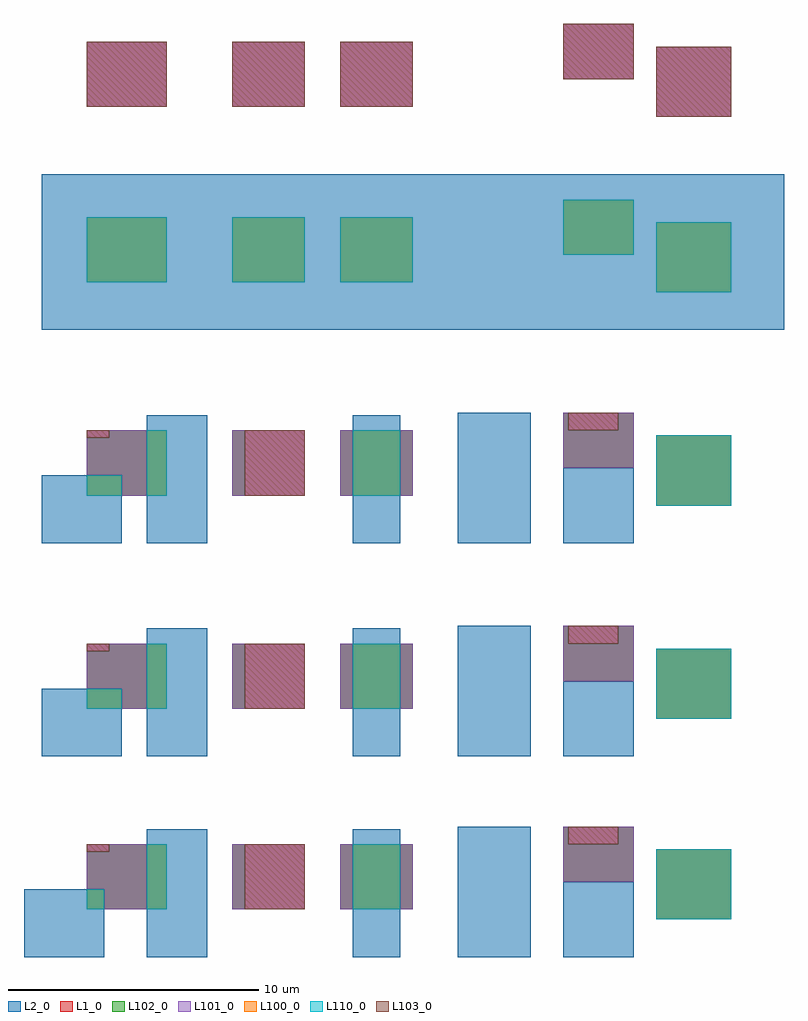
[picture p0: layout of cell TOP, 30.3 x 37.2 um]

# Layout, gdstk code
import gdstk
lib = gdstk.Library(unit=1e-6, precision=1e-09)
def R(c, l, rs):  # rectangles x0, y0, x1, y1
    for r in rs: c.add(gdstk.rectangle(r[:2], r[2:], *l))
def P(c, l, *ps):  # polygons
    for p in ps: c.add(gdstk.Polygon(p, *l))
L1_0 = (1, 0)
L2_0 = (2, 0)
L100_0 = (100, 0)
L101_0 = (101, 0)
L102_0 = (102, 0)
L103_0 = (103, 0)
L110_0 = (110, 0)

child1 = lib.new_cell('CHILD1')
R(child1, L1_0, [(22.7,0,25.7,2.8), (0,0.4,3.2,3), (5.8,0.4,8.7,3), (10.1,0.4,13,3), (19,1.5,21.8,3.7)])

subcell = lib.new_cell('SUBCELL')
R(subcell, L2_0, [(0,0,3.2,2.7), (4.9,0,7.3,5.1), (13.1,0,15,5.1), (17.3,0,20.2,5.2), (21.5,0,24.3,3), (25.2,1.5,28.2,4.3), (0.7,8,3.9,10.7), (4.9,8,7.3,13.1), (13.1,8,15,13.1), (17.3,8,20.2,13.2), (21.5,8,24.3,11), (25.2,9.5,28.2,12.3)])
R(subcell, L100_0, [(25.2,1.5,28.2,4.3), (2.5,1.9,3.2,2.7), (4.9,1.9,5.7,4.5), (13.1,1.9,15,4.5), (25.2,9.5,28.2,12.3), (2.5,9.9,3.9,10.7), (4.9,9.9,5.7,12.5), (13.1,9.9,15,12.5)])
R(subcell, L101_0, [(8.3,1.9,11.2,4.5), (12.6,1.9,13.1,4.5), (15,1.9,15.5,4.5), (21.5,3,24.3,5.2), (8.3,9.9,11.2,12.5), (12.6,9.9,13.1,12.5), (15,9.9,15.5,12.5), (21.5,11,24.3,13.2)])
P(subcell, L101_0, [(3.9,9.9),(3.9,10.7),(2.5,10.7),(2.5,12.5),(4.9,12.5),(4.9,9.9)],
  [(3.2,1.9),(3.2,2.7),(2.5,2.7),(2.5,4.5),(4.9,4.5),(4.9,1.9)])
R(subcell, L102_0, [(25.2,1.5,28.2,4.3), (8.3,1.9,8.8,4.5), (12.6,1.9,15.5,4.5), (25.2,9.5,28.2,12.3), (8.3,9.9,8.8,12.5), (12.6,9.9,15.5,12.5)])
P(subcell, L102_0, [(21.5,3),(21.5,5.2),(21.7,5.2),(21.7,4.5),(23.7,4.5),(23.7,5.2),(24.3,5.2),(24.3,3)],
  [(21.5,11),(21.5,13.2),(21.7,13.2),(21.7,12.5),(23.7,12.5),(23.7,13.2),(24.3,13.2),(24.3,11)],
  [(2.5,1.9),(2.5,4.2),(3.4,4.2),(3.4,4.5),(5.7,4.5),(5.7,1.9)],
  [(2.5,9.9),(2.5,12.2),(3.4,12.2),(3.4,12.5),(5.7,12.5),(5.7,9.9)])
R(subcell, L103_0, [(8.8,1.9,11.2,4.5), (2.5,4.2,3.4,4.5), (21.7,4.5,23.7,5.2), (8.8,9.9,11.2,12.5), (2.5,12.2,3.4,12.5), (21.7,12.5,23.7,13.2)])
R(subcell, L110_0, [(25.2,1.5,28.2,4.3), (2.5,1.9,3.2,2.7), (4.9,1.9,5.7,4.5), (13.1,1.9,15,4.5), (25.2,9.5,28.2,12.3), (2.5,9.9,3.9,10.7), (4.9,9.9,5.7,12.5), (13.1,9.9,15,12.5)])
subcell.add(gdstk.Reference(child1, (2.5,1.5)))
subcell.add(gdstk.Reference(child1, (2.5,9.5)))

top = lib.new_cell('TOP')
R(top, L2_0, [(0,16.5,3.2,19.2), (4.2,16.5,6.6,21.6), (12.4,16.5,14.3,21.6), (16.6,16.5,19.5,21.7), (20.8,16.5,23.6,19.5), (24.5,18,27.5,20.8), (0,25,29.6,31.2)])
R(top, L100_0, [(24.5,18,27.5,20.8), (1.8,18.4,3.2,19.2), (4.2,18.4,5,21), (12.4,18.4,14.3,21), (24.5,26.5,27.5,29.3), (1.8,26.9,5,29.5), (7.6,26.9,10.5,29.5), (11.9,26.9,14.8,29.5), (20.8,28,23.6,30.2)])
R(top, L101_0, [(7.6,18.4,10.5,21), (11.9,18.4,12.4,21), (14.3,18.4,14.8,21), (20.8,19.5,23.6,21.7), (24.5,33.5,27.5,36.3), (1.8,33.9,5,36.5), (7.6,33.9,10.5,36.5), (11.9,33.9,14.8,36.5), (20.8,35,23.6,37.2)])
P(top, L101_0, [(3.2,18.4),(3.2,19.2),(1.8,19.2),(1.8,21),(4.2,21),(4.2,18.4)])
R(top, L102_0, [(24.5,18,27.5,20.8), (7.6,18.4,8.1,21), (11.9,18.4,14.8,21), (24.5,26.5,27.5,29.3), (1.8,26.9,5,29.5), (7.6,26.9,10.5,29.5), (11.9,26.9,14.8,29.5), (20.8,28,23.6,30.2)])
P(top, L102_0, [(20.8,19.5),(20.8,21.7),(21,21.7),(21,21),(23,21),(23,21.7),(23.6,21.7),(23.6,19.5)],
  [(1.8,18.4),(1.8,20.7),(2.7,20.7),(2.7,21),(5,21),(5,18.4)])
R(top, L103_0, [(8.1,18.4,10.5,21), (1.8,20.7,2.7,21), (21,21,23,21.7), (24.5,33.5,27.5,36.3), (1.8,33.9,5,36.5), (7.6,33.9,10.5,36.5), (11.9,33.9,14.8,36.5), (20.8,35,23.6,37.2)])
R(top, L110_0, [(24.5,18,27.5,20.8), (1.8,18.4,3.2,19.2), (4.2,18.4,5,21), (12.4,18.4,14.3,21), (24.5,26.5,27.5,29.3), (1.8,26.9,5,29.5), (7.6,26.9,10.5,29.5), (11.9,26.9,14.8,29.5), (20.8,28,23.6,30.2)])
top.add(gdstk.Reference(child1, (1.8,18)))
top.add(gdstk.Reference(child1, (1.8,26.5)))
top.add(gdstk.Reference(child1, (1.8,33.5)))
top.add(gdstk.Reference(subcell, (-0.7,0)))

lib.write_gds('TOP.gds')
